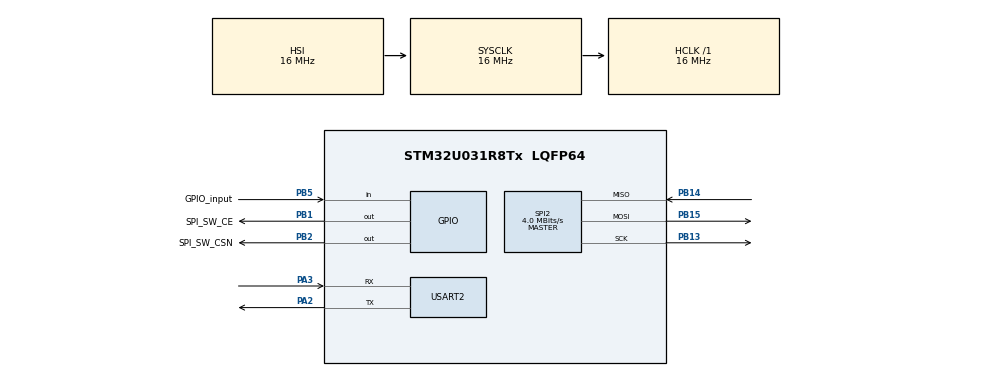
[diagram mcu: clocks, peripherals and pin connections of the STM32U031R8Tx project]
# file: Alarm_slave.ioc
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Mcu.Family=STM32U0
Mcu.Name=STM32U031R8Tx
Mcu.Package=LQFP64
NVIC.PriorityGroup=NVIC_PRIORITYGROUP_2
PA2.Mode=Asynchronous
PA2.Signal=USART2_TX
PA3.Mode=Asynchronous
PA3.Signal=USART2_RX
PB1.GPIO_Label=SPI_SW_CE
PB1.Signal=GPIO_Output
PB13.Mode=Full_Duplex_Master
PB13.Signal=SPI2_SCK
PB14.Mode=Full_Duplex_Master
PB14.Signal=SPI2_MISO
PB15.Mode=Full_Duplex_Master
PB15.Signal=SPI2_MOSI
PB2.GPIO_Label=SPI_SW_CSN
PB2.PinState=GPIO_PIN_SET
PB2.Signal=GPIO_Output
PB5.GPIO_Label=GPIO_input
PB5.Signal=GPIO_Input
ProjectManager.HeapSize=0x200
ProjectManager.StackSize=0x400
ProjectManager.TargetToolchain=STM32CubeIDE
RCC.AHBFreq_Value=16000000
RCC.CortexFreq_Value=16000000
RCC.HCLKFreq_Value=16000000
RCC.HSE_VALUE=4000000
RCC.HSI48_VALUE=48000000
RCC.HSI_VALUE=16000000
RCC.LSE_VALUE=32768
RCC.MSI_VALUE=4000000
RCC.SYSCLKFreq_VALUE=16000000
RCC.VCOOutputFreq_Value=64000000
SPI2.BaudRatePrescaler=SPI_BAUDRATEPRESCALER_4
SPI2.CalculateBaudRate=4.0 MBits/s
SPI2.DataSize=SPI_DATASIZE_8BIT
SPI2.Direction=SPI_DIRECTION_2LINES
SPI2.Mode=SPI_MODE_MASTER
SPI2.VirtualType=VM_MASTER
USART2.VirtualMode-Asynchronous=VM_ASYNC
VP_PWR_VS_SECSignals.Mode=Security/Privilege
board=custom

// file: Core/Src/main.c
/* USER CODE BEGIN Header */
/**
  ******************************************************************************
  * @file           : main.c
  * @brief          : Main program body
  ******************************************************************************
  * @attention
  *
  * Copyright (c) 2025 STMicroelectronics.
  * All rights reserved.
  *
  * This software is licensed under terms that can be found in the LICENSE file
  * in the root directory of this software component.
  * If no LICENSE file comes with this software, it is provided AS-IS.
  *
  ******************************************************************************
  */
/* USER CODE END Header */
#include "main.h"

/* USER CODE BEGIN Includes */
#include <string.h>
#include <stdio.h>
/* USER CODE END Includes */

SPI_HandleTypeDef hspi2;

UART_HandleTypeDef huart2;

void SystemClock_Config(void);
static void MX_GPIO_Init(void);
static void MX_SPI2_Init(void);
static void MX_USART2_UART_Init(void);

/* USER CODE BEGIN 0 */

#define NRF_REG_CONFIG      0x00
#define NRF_REG_EN_AA       0x01
#define NRF_REG_EN_RXADDR   0x02
#define NRF_REG_SETUP_AW    0x03
#define NRF_REG_SETUP_RETR  0x04
#define NRF_REG_RF_CH       0x05
#define NRF_REG_RF_SETUP    0x06
#define NRF_REG_STATUS      0x07
#define NRF_REG_RX_ADDR_P0  0x0A
#define NRF_REG_TX_ADDR     0x10
#define NRF_REG_RX_PW_P0    0x11 // Note: For dynamic payload, actual payload width is read via R_RX_PL_WID
#define NRF_REG_FIFO_STATUS 0x17
#define NRF_REG_DYNPD       0x1C
#define NRF_REG_FEATURE     0x1D

// --- NRF24L01+ Command Definitions ---
#define NRF_CMD_R_REGISTER    0x00 // Read command and status registers. AAAAA = 5 bit register map address
#define NRF_CMD_W_REGISTER    0x20 // Write command and status registers. AAAAA = 5 bit register map address. Executable in power down or standby modes only.
#define NRF_CMD_R_RX_PAYLOAD  0x61 // Read RX-payload: 1 – 32 bytes. A read operation always starts at byte 0. Payload is deleted from FIFO after it is read. Used in RX mode.
#define NRF_CMD_W_TX_PAYLOAD  0xA0 // Write TX-payload: 1 – 32 bytes. A write operation always starts at byte 0. Used in TX payload.
#define NRF_CMD_FLUSH_TX      0xE1 // Flush TX FIFO, used in TX mode
#define NRF_CMD_FLUSH_RX      0xE2 // Flush RX FIFO, used in RX mode. Should not be executed during transmission of ACK packet.
#define NRF_CMD_R_RX_PL_WID   0x60 // Read RX-payload width for the top R_RX_PAYLOAD in the RX FIFO.
#define NRF_CMD_NOP           0xFF // No Operation. Might be used to read the STATUS register

// --- STATUS Register Bits ---
#define NRF_STATUS_RX_DR    (1<<6) // Data Ready RX FIFO interrupt
#define NRF_STATUS_TX_DS    (1<<5) // Data Sent TX FIFO interrupt
#define NRF_STATUS_MAX_RT   (1<<4) // Maximum number of TX retransmits interrupt

// --- CONFIG Register Bits ---
#define NRF_CONFIG_MASK_RX_DR  (1<<6) // Mask interrupt caused by RX_DR
#define NRF_CONFIG_MASK_TX_DS  (1<<5) // Mask interrupt caused by TX_DS
#define NRF_CONFIG_MASK_MAX_RT (1<<4) // Mask interrupt caused by MAX_RT
#define NRF_CONFIG_EN_CRC      (1<<3) // Enable CRC. Forced high if one of the bits in EN_AA is high
#define NRF_CONFIG_CRCO        (1<<2) // CRC encoding scheme, '0':1 byte, '1':2 bytes
#define NRF_CONFIG_PWR_UP      (1<<1) // 1: POWER UP, 0:POWER DOWN
#define NRF_CONFIG_PRIM_RX     (1<<0) // RX/TX control, '1':PRX, '0':PTX

/*
 * @brief Writes data to an NRF24L01+ register.
 * @param reg_addr: The register address (5 LSBs are used).
 * @param data: Pointer to the data to write.
 * @param size: Number of bytes to write.
 * @retval HAL_StatusTypeDef from SPI transaction.
 */
HAL_StatusTypeDef nrf_write_register(uint8_t reg_addr, uint8_t* data, uint8_t size) {
    uint8_t tx_buf[size + 1];
    uint8_t rx_buf[size + 1]; // To capture status bytes clocked out
    HAL_StatusTypeDef status;

    tx_buf[0] = NRF_CMD_W_REGISTER | (reg_addr & 0x1F); // Command OR'd with register address
    memcpy(tx_buf + 1, data, size);

    HAL_GPIO_WritePin(SPI_SW_CSN_GPIO_Port, SPI_SW_CSN_Pin, GPIO_PIN_RESET);
    status = HAL_SPI_TransmitReceive(&hspi2, tx_buf, rx_buf, size + 1, HAL_MAX_DELAY);
    HAL_GPIO_WritePin(SPI_SW_CSN_GPIO_Port, SPI_SW_CSN_Pin, GPIO_PIN_SET);

    // rx_buf[0] contains the STATUS register value at the time of command byte transmission.
    // You can print or log rx_buf[0] for debugging if needed.
    // printf("NRF_Write: Reg 0x%02X, Status during write: 0x%02X\n", reg_addr, rx_buf[0]);

    if (status != HAL_OK) {
        printf("SPI Error in nrf_write_register: %d for reg 0x%02X\n", (int)status, reg_addr);
    }
    return status;
}

/*
 * @brief Reads multiple bytes from an NRF24L01+ register.
 * @param reg_addr: The register address (5 LSBs are used).
 * @param read_data: Pointer to a buffer to store the read data.
 * @param size: Number of bytes to read.
 * @retval HAL_StatusTypeDef from SPI transaction.
 */
HAL_StatusTypeDef nrf_read_register_multi(uint8_t reg_addr, uint8_t* read_data, uint8_t size) {
    uint8_t cmd = NRF_CMD_R_REGISTER | (reg_addr & 0x1F);
    uint8_t status_byte; // To store the status clocked out during command transmission
    HAL_StatusTypeDef status;

    HAL_GPIO_WritePin(SPI_SW_CSN_GPIO_Port, SPI_SW_CSN_Pin, GPIO_PIN_RESET);
    // Transmit the read command, receive status byte
    status = HAL_SPI_TransmitReceive(&hspi2, &cmd, &status_byte, 1, HAL_MAX_DELAY);
    if (status == HAL_OK) {
        // Receive the register data (clocks out NOPs on MOSI if HAL_SPI_Receive requires it,
        // or send dummy bytes if using HAL_SPI_TransmitReceive for reading)
        // Using HAL_SPI_Receive is cleaner here.
        status = HAL_SPI_Receive(&hspi2, read_data, size, HAL_MAX_DELAY);
    }
    HAL_GPIO_WritePin(SPI_SW_CSN_GPIO_Port, SPI_SW_CSN_Pin, GPIO_PIN_SET);

    // printf("NRF_Read_Multi: Reg 0x%02X, Status during read cmd: 0x%02X\n", reg_addr, status_byte);

    if (status != HAL_OK) {
        printf("SPI Error in nrf_read_register_multi: %d for reg 0x%02X\n", (int)status, reg_addr);
    }
    return status;
}

/*
 * @brief Reads a single byte from an NRF24L01+ register.
 * @param reg_addr: The register address.
 * @retval The byte read from the register. Returns 0xFF on SPI error for simplicity.
 */
uint8_t nrf_read_single_register(uint8_t reg_addr) {
    uint8_t data_byte;
    if (nrf_read_register_multi(reg_addr, &data_byte, 1) == HAL_OK) {
        return data_byte;
    }
    printf("Error reading single register 0x%02X\n", reg_addr);
    return 0xFF; // Indicate error
}

/*
 * @brief Reads the NRF24L01+ STATUS register using NOP command.
 * @retval The STATUS register value. Returns 0xFF on SPI error.
 */
uint8_t nrf_read_status_register(void) {
    uint8_t status_val;
    uint8_t nop_cmd = NRF_CMD_NOP;
    HAL_StatusTypeDef spi_status;
    HAL_GPIO_WritePin(SPI_SW_CSN_GPIO_Port, SPI_SW_CSN_Pin, GPIO_PIN_RESET);
    spi_status = HAL_SPI_TransmitReceive(&hspi2, &nop_cmd, &status_val, 1, HAL_MAX_DELAY);
    HAL_GPIO_WritePin(SPI_SW_CSN_GPIO_Port, SPI_SW_CSN_Pin, GPIO_PIN_SET);
    if (spi_status != HAL_OK) {
        printf("SPI Error reading STATUS register: %d\n", (int)spi_status);
        return 0xFF; // Error
    }
    return status_val;
}

/*
 * @brief Clears specified IRQ flags in the STATUS register.
 * @param flags_to_clear: Bitmask of flags (NRF_STATUS_RX_DR, NRF_STATUS_TX_DS, NRF_STATUS_MAX_RT).
 */
void nrf_clear_status_flags(uint8_t flags_to_clear) {
    // To clear a flag, write '1' to its bit position in the STATUS register
    nrf_write_register(NRF_REG_STATUS, &flags_to_clear, 1);
}

/*
 * @brief Reads the RX payload width from the NRF24L01+ using R_RX_PL_WID command.
 * @retval Payload width (1-32). Returns 0 if FIFO is empty or error, or width > 32.
 */
uint8_t nrf_read_rx_payload_width(void) {
    uint8_t cmd = NRF_CMD_R_RX_PL_WID;
    uint8_t width;
    uint8_t status_at_cmd_time; // Status byte returned when sending the command
    HAL_StatusTypeDef spi_status;

    HAL_GPIO_WritePin(SPI_SW_CSN_GPIO_Port, SPI_SW_CSN_Pin, GPIO_PIN_RESET);
    // Send command, get status
    spi_status = HAL_SPI_TransmitReceive(&hspi2, &cmd, &status_at_cmd_time, 1, HAL_MAX_DELAY);
    if (spi_status == HAL_OK) {
        // Get width (send NOP to clock it out, or just receive if SPI driver supports it)
        // Using a NOP to clock out the width byte is a common practice.
        uint8_t nop = NRF_CMD_NOP;
        spi_status = HAL_SPI_TransmitReceive(&hspi2, &nop, &width, 1, HAL_MAX_DELAY);
    }
    HAL_GPIO_WritePin(SPI_SW_CSN_GPIO_Port, SPI_SW_CSN_Pin, GPIO_PIN_SET);

    if (spi_status != HAL_OK) {
        printf("SPI Error in nrf_read_rx_payload_width: %d\n", (int)spi_status);
        return 0; // Error
    }

    // If width > 32, it indicates an error or empty FIFO.
    // The NRF24L01+ datasheet states: "A payload width value > 32 is an error and should be discarded."
    if (width > 32) {
        // This often means the RX FIFO is empty.
        // printf("NRF_Read_RX_PL_WID: Width > 32 (0x%02X), likely empty FIFO. Status was 0x%02X\n", width, status_at_cmd_time);
        return 0;
    }
    return width;
}

/*
 * @brief Reads the received payload from the RX FIFO.
 * @param payload_buffer: Buffer to store the payload.
 * @param width: The width of the payload to read (obtained from nrf_read_rx_payload_width).
 * @retval HAL_StatusTypeDef from SPI transaction.
 */
HAL_StatusTypeDef nrf_read_rx_payload(uint8_t* payload_buffer, uint8_t width) {
    uint8_t cmd = NRF_CMD_R_RX_PAYLOAD;
    uint8_t status_at_cmd_time; // Status byte returned when sending the command
    HAL_StatusTypeDef spi_status;

    if (width == 0 || width > 32) {
        printf("NRF_Read_RX_Payload: Invalid width %d\n", width);
        return HAL_ERROR;
    }

    HAL_GPIO_WritePin(SPI_SW_CSN_GPIO_Port, SPI_SW_CSN_Pin, GPIO_PIN_RESET);
    // Send command, get status
    spi_status = HAL_SPI_TransmitReceive(&hspi2, &cmd, &status_at_cmd_time, 1, HAL_MAX_DELAY);
    if (spi_status == HAL_OK) {
        // Get payload
        // Send dummy bytes if using HAL_SPI_TransmitReceive, or just receive.
        spi_status = HAL_SPI_Receive(&hspi2, payload_buffer, width, HAL_MAX_DELAY);
    }
    HAL_GPIO_WritePin(SPI_SW_CSN_GPIO_Port, SPI_SW_CSN_Pin, GPIO_PIN_SET);

    // printf("NRF_Read_RX_Payload: Status during R_RX_PAYLOAD cmd: 0x%02X\n", status_at_cmd_time);
    if (spi_status != HAL_OK) {
        printf("SPI Error in nrf_read_rx_payload: %d\n", (int)spi_status);
    }
    // After reading the payload, the RX_DR bit in STATUS is cleared if DYNPD is disabled and payload width matches RX_PW_Px.
    // If DYNPD is enabled, RX_DR must be cleared manually.
    return spi_status;
}

/*
 * @brief Flushes the TX FIFO.
 */
void nrf_flush_tx_fifo(void) {
    uint8_t cmd = NRF_CMD_FLUSH_TX;
    uint8_t status_byte;
    HAL_GPIO_WritePin(SPI_SW_CSN_GPIO_Port, SPI_SW_CSN_Pin, GPIO_PIN_RESET);
    HAL_SPI_TransmitReceive(&hspi2, &cmd, &status_byte, 1, HAL_MAX_DELAY);
    HAL_GPIO_WritePin(SPI_SW_CSN_GPIO_Port, SPI_SW_CSN_Pin, GPIO_PIN_SET);
    // printf("NRF_Flush_TX: Status during flush: 0x%02X\n", status_byte);
}

/*
 * @brief Flushes the RX FIFO.
 */
void nrf_flush_rx_fifo(void) {
    uint8_t cmd = NRF_CMD_FLUSH_RX;
    uint8_t status_byte;
    HAL_GPIO_WritePin(SPI_SW_CSN_GPIO_Port, SPI_SW_CSN_Pin, GPIO_PIN_RESET);
    HAL_SPI_TransmitReceive(&hspi2, &cmd, &status_byte, 1, HAL_MAX_DELAY);
    HAL_GPIO_WritePin(SPI_SW_CSN_GPIO_Port, SPI_SW_CSN_Pin, GPIO_PIN_SET);
    // printf("NRF_Flush_RX: Status during flush: 0x%02X\n", status_byte);
}

// --- Slave (Transmitter) Functions ---
void init_nrf_slave(void) {
    uint8_t data_val[5]; // Buffer for register values
    uint8_t addr[5] = {0xE7, 0xE7, 0xE7, 0xE7, 0xE7}; // Example address, ensure it's consistent

    HAL_GPIO_WritePin(SPI_SW_CE_GPIO_Port, SPI_SW_CE_Pin, GPIO_PIN_RESET); // Start with CE low
    HAL_Delay(1000); // Allow NRF to settle after power on (datasheet says 100ms from PWDN to Standby-I)

    printf("--- Initializing NRF Slave (PTX) ---\n");

    // Read initial status (optional, but good for debugging)
    uint8_t initial_nrf_status = nrf_read_status_register();
    printf("Slave: Initial NRF Status (before clear): 0x%02X\n", initial_nrf_status);

    // Force clear RX_DR, TX_DS, MAX_RT flags
    uint8_t flags_to_clear = NRF_STATUS_RX_DR | NRF_STATUS_TX_DS | NRF_STATUS_MAX_RT; // This is 0x70
    printf("Slave: Attempting to clear status flags (writing 0x%02X to STATUS reg).\n", flags_to_clear);
    nrf_write_register(NRF_REG_STATUS, &flags_to_clear, 1);
    HAL_Delay(1); // Small delay for the write to process

    // Read status again to confirm
    uint8_t status_after_clear = nrf_read_status_register();
    printf("Slave: NRF Status after clearing flags: 0x%02X\n", status_after_clear);

    // Also good to flush FIFOs early
    nrf_flush_tx_fifo();
    nrf_flush_rx_fifo();
    HAL_Delay(1);

    // Now attempt to write the CONFIG register
    //data_val[0] = NRF_CONFIG_PWR_UP; // Target: 0x02 (or NRF_CONFIG_PWR_UP | NRF_CONFIG_EN_CRC = 0x0A)

    data_val[0] = NRF_CONFIG_PWR_UP | NRF_CONFIG_EN_CRC | NRF_CONFIG_CRCO | NRF_CONFIG_MASK_RX_DR;
    printf("Slave: Intended CONFIG data_val[0] = 0x%02X\n", data_val[0]);

    // Add your detailed SPI write debug here for the CONFIG write if you haven't already:
    // printf("Slave SPI Write to CONFIG: TargetReg=0x00, CmdByteSent=0xXX, DataByteSent=0x%02X\n", data_val[0]);
    // HAL_StatusTypeDef spi_op_status = nrf_write_register(NRF_REG_CONFIG, data_val, 1);
    // printf("  Slave SPI Write to CONFIG: HAL_SPI_Status=%d, NRF_Status_during_Cmd=0xXX\n", (int)spi_op_status, /* NRF status from rx_buf[0] */);

    nrf_write_register(NRF_REG_CONFIG, data_val, 1);
    HAL_Delay(5); // Allow time for PWR_UP (1.5ms) to take effect

    uint8_t actual_config = nrf_read_single_register(NRF_REG_CONFIG);
    printf("Slave: Actual CONFIG read back = 0x%02X\n", actual_config);

    // Enable Auto-Acknowledgement on Pipe 0 (for receiving ACKs from master)
    data_val[0] = 0x00; nrf_write_register(NRF_REG_EN_AA, data_val, 1);

    // Enable RX Pipe 0 (needed to receive ACKs)
    data_val[0] = 0x01; nrf_write_register(NRF_REG_EN_RXADDR, data_val, 1);

    // Address Width: 5 bytes
    data_val[0] = 0x03; nrf_write_register(NRF_REG_SETUP_AW, data_val, 1);

    // Auto Retransmit Delay: 500us, Auto Retransmit Count: 10 retries
    // Your original 0x0F (250us, 15 retries) is also fine.
    // 0x1A = (0001 << 4) | (1010) = 500us delay, 10 retries.
    data_val[0] = 0x1A; nrf_write_register(NRF_REG_SETUP_RETR, data_val, 1);

    // RF Channel: e.g., Channel 60 (2460 MHz)
    // Your original 0x3C (Channel 60) is good.
    data_val[0] = 0x01; nrf_write_register(NRF_REG_RF_CH, data_val, 1);

    // RF Setup: Data Rate 1Mbps, Output Power 0dBm
    // Your original 0x27 (250kbps, 0dBm). Ensure master matches.
    // For testing, 1Mbps (0x07) or 2Mbps (0x0F) can be more robust if range is short.
    // Let's stick to 1Mbps (0x07) for now for consistency with master example.
    data_val[0] = 0x07; nrf_write_register(NRF_REG_RF_SETUP, data_val, 1);

    // TX Address (slave transmits on this address)
    nrf_write_register(NRF_REG_TX_ADDR, addr, 5);

    // RX Address Pipe 0 (slave receives ACKs on this address, must match TX_ADDR for ACKs)
    nrf_write_register(NRF_REG_RX_ADDR_P0, addr, 5);

    // Enable Dynamic Payload Length for Pipe 0 (for ACKs if master sends ACK payloads, though usually not needed for basic ACK)
    // And globally enable DPL feature.
    // Your original 0x01 for DYNPD (Pipe0) and 0x04 for FEATURE (EN_DPL)
    data_val[0] = 0x01; nrf_write_register(NRF_REG_DYNPD, data_val, 1);
    data_val[0] = (1<<2); // FEATURE: EN_DPL bit (bit 2)
    // Your original 0x04 for FEATURE is (EN_DPL | EN_ACK_PAY). If you don't use ACK payloads, just EN_DPL is enough.
    // Let's use EN_DPL only: data_val[0] = (1<<2);
    // If you need ACK payloads: data_val[0] = (1<<2) | (1<<1);
    // For simplicity, let's assume no ACK payloads for now.
    nrf_write_register(NRF_REG_FEATURE, data_val, 1);

    // Clear any pending IRQ flags from startup
    nrf_clear_status_flags(NRF_STATUS_RX_DR | NRF_STATUS_TX_DS | NRF_STATUS_MAX_RT);
    nrf_flush_tx_fifo(); // Important
    nrf_flush_rx_fifo(); // Important

    HAL_Delay(5); // Allow settings to take effect

    // --- Verification Prints ---
    printf("Slave CONFIG: 0x%02X (Expected PTX: PWR_UP, CRC_EN, CRC_2B, MASK_RX_DR)\n", nrf_read_single_register(NRF_REG_CONFIG));
    printf("Slave RF_SETUP: 0x%02X (Expected 1Mbps, 0dBm: 0x07)\n", nrf_read_single_register(NRF_REG_RF_SETUP));
    printf("Slave RF_CH: 0x%02X (Expected 0x3C)\n", nrf_read_single_register(NRF_REG_RF_CH));
    uint8_t rxtx_addr_check[5];
    nrf_read_register_multi(NRF_REG_TX_ADDR, rxtx_addr_check, 5);
    printf("Slave TX_ADDR: %02X:%02X:%02X:%02X:%02X\n", rxtx_addr_check[0],rxtx_addr_check[1],rxtx_addr_check[2],rxtx_addr_check[3],rxtx_addr_check[4]);
    nrf_read_register_multi(NRF_REG_RX_ADDR_P0, rxtx_addr_check, 5);
    printf("Slave RX_ADDR_P0: %02X:%02X:%02X:%02X:%02X\n", rxtx_addr_check[0],rxtx_addr_check[1],rxtx_addr_check[2],rxtx_addr_check[3],rxtx_addr_check[4]);
    printf("Slave STATUS: 0x%02X\n", nrf_read_status_register());
    printf("Slave FIFO_STATUS: 0x%02X\n", nrf_read_single_register(NRF_REG_FIFO_STATUS));
    printf("--- NRF Slave Initialized ---\n");
}

void transmit_nrf_payload(uint8_t size, char* data) {
    if (size == 0 || size > 32) {
        printf("Transmit_NRF: Invalid payload size %d\n", size);
        return;
    }

    // Optional: Check if NRF is in PTX mode and powered up
    // uint8_t config_reg = nrf_read_single_register(NRF_REG_CONFIG);
    // if (!(config_reg & NRF_CONFIG_PWR_UP) || (config_reg & NRF_CONFIG_PRIM_RX)) {
    //    printf("Transmit_NRF: Not in PTX mode or not powered up! CONFIG: 0x%02X\n", config_reg);
    //    // Potentially re-initialize or set to PTX mode here
    //    return;
    // }

    // Ensure CE is low before writing payload
    HAL_GPIO_WritePin(SPI_SW_CE_GPIO_Port, SPI_SW_CE_Pin, GPIO_PIN_RESET);

    // Write payload to TX FIFO using W_TX_PAYLOAD command
    uint8_t tx_payload_cmd =  0xB0; // W_TX_PAYLOAD_NOACK;
    uint8_t status_byte_during_cmd;

    HAL_GPIO_WritePin(SPI_SW_CSN_GPIO_Port, SPI_SW_CSN_Pin, GPIO_PIN_RESET);
    HAL_SPI_TransmitReceive(&hspi2, &tx_payload_cmd, &status_byte_during_cmd, 1, HAL_MAX_DELAY);
    HAL_SPI_Transmit(&hspi2, (uint8_t*)data, size, HAL_MAX_DELAY); // Send payload data
    HAL_GPIO_WritePin(SPI_SW_CSN_GPIO_Port, SPI_SW_CSN_Pin, GPIO_PIN_SET);
    // printf("Transmit_NRF: Status during W_TX_PAYLOAD cmd: 0x%02X\n", status_byte_during_cmd);

    // Pulse CE to trigger transmission
    HAL_GPIO_WritePin(SPI_SW_CE_GPIO_Port, SPI_SW_CE_Pin, GPIO_PIN_SET);
    // Keep CE high for at least 10us for transmission to start.
    // HAL_Delay(1) is more than enough. For faster systems, a microsecond delay is better.
    // For STM32, DWT_Delay_us can be used if initialized.
    volatile uint32_t delay_count = 1000; // Simple busy loop for short delay, adjust as needed
    while(delay_count--); // This is a rough delay, use proper us delay if available
    // HAL_Delay(1); // Using HAL_Delay for simplicity, though it's ms resolution
    HAL_GPIO_WritePin(SPI_SW_CE_GPIO_Port, SPI_SW_CE_Pin, GPIO_PIN_RESET);

    // After pulsing CE, the NRF attempts transmission.
    // The IRQ pin will go low if TX_DS or MAX_RT occurs (if unmasked in CONFIG).
    // Or, you can poll the STATUS register.
    // It's good practice to wait for TX_DS or MAX_RT, or implement a timeout.
}

// --- Master (Receiver) Functions ---
void init_nrf_master(void) {
    uint8_t data_val[5];
    uint8_t addr[5] = {0xE7, 0xE7, 0xE7, 0xE7, 0xE7}; // Must match slave's TX_ADDR and RX_ADDR_P0 for ACKs

    HAL_GPIO_WritePin(SPI_SW_CE_GPIO_Port, SPI_SW_CE_Pin, GPIO_PIN_RESET); // Start with CE low
    HAL_Delay(110); // Allow NRF to settle

    printf("--- Initializing NRF Master (PRX) ---\n");

    // CONFIG: Power Up, 2-byte CRC, PRX mode. Unmask RX_DR IRQ, mask TX_DS and MAX_RT.
    data_val[0] = NRF_CONFIG_PWR_UP | NRF_CONFIG_EN_CRC | NRF_CONFIG_CRCO | NRF_CONFIG_PRIM_RX |
                  NRF_CONFIG_MASK_TX_DS | NRF_CONFIG_MASK_MAX_RT;
    // Your original 0x0F is (PWR_UP | EN_CRC | CRCO | PRIM_RX). This is correct for PRX.
    // The masking part is important for IRQ behavior.
    nrf_write_register(NRF_REG_CONFIG, data_val, 1);
    HAL_Delay(2); // Allow time for state change

    // Enable Auto-Acknowledgement on Pipe 0 (master will send ACKs automatically)
    data_val[0] = 0x00; nrf_write_register(NRF_REG_EN_AA, data_val, 1);

    // Enable RX Pipe 0
    data_val[0] = 0x01; nrf_write_register(NRF_REG_EN_RXADDR, data_val, 1);

    // Address Width: 5 bytes
    data_val[0] = 0x03; nrf_write_register(NRF_REG_SETUP_AW, data_val, 1);

    // RF Channel: (Must match slave)
    data_val[0] = 0x01; nrf_write_register(NRF_REG_RF_CH, data_val, 1);

    // RF Setup: Data Rate 1Mbps, Output Power 0dBm (Must match slave)
    data_val[0] = 0x07; nrf_write_register(NRF_REG_RF_SETUP, data_val, 1);

    // RX Address for Pipe 0 (master listens on this address)
    nrf_write_register(NRF_REG_RX_ADDR_P0, addr, 5);

    // If master also needs to transmit data (not just ACKs), set TX_ADDR.
    // For basic ACK, P0 address is used automatically by NRF.
    // nrf_write_register(NRF_REG_TX_ADDR, master_tx_addr_if_needed, 5);

    // Enable Dynamic Payload Length for Pipe 0 and globally enable DPL feature.
    data_val[0] = 0x01; nrf_write_register(NRF_REG_DYNPD, data_val, 1);
    data_val[0] = (1<<2); // FEATURE: EN_DPL bit
    nrf_write_register(NRF_REG_FEATURE, data_val, 1);

    // Static payload length for Pipe 0 (if not using DPL, or as a fallback if DPL read fails)
    // This is often set even if DPL is used, but DPL overrides it.
    // data_val[0] = 32; // Max payload size, or your expected fixed size
    // nrf_write_register(NRF_REG_RX_PW_P0, data_val, 1);

    // Clear any pending IRQ flags
    nrf_clear_status_flags(NRF_STATUS_RX_DR | NRF_STATUS_TX_DS | NRF_STATUS_MAX_RT);
    nrf_flush_tx_fifo();
    nrf_flush_rx_fifo();

    HAL_Delay(5); // Allow settings to take effect

    // --- Verification Prints ---
    printf("Master CONFIG: 0x%02X (Expected PRX: PWR_UP, CRC_EN, CRC_2B, PRIM_RX, MASK_TX_DS, MASK_MAX_RT)\n", nrf_read_single_register(NRF_REG_CONFIG));
    printf("Master RF_SETUP: 0x%02X (Expected 1Mbps, 0dBm: 0x07)\n", nrf_read_single_register(NRF_REG_RF_SETUP));
    printf("Master RF_CH: 0x%02X (Expected 0x3C)\n", nrf_read_single_register(NRF_REG_RF_CH));
    uint8_t rx_p0_addr_check[5];
    nrf_read_register_multi(NRF_REG_RX_ADDR_P0, rx_p0_addr_check, 5);
    printf("Master RX_ADDR_P0: %02X:%02X:%02X:%02X:%02X\n", rx_p0_addr_check[0],rx_p0_addr_check[1],rx_p0_addr_check[2],rx_p0_addr_check[3],rx_p0_addr_check[4]);
    printf("Master STATUS: 0x%02X\n", nrf_read_status_register());
    printf("Master FIFO_STATUS: 0x%02X\n", nrf_read_single_register(NRF_REG_FIFO_STATUS));
    printf("--- NRF Master Initialized ---\n");

    // IMPORTANT: After initialization, put master in RX mode by setting CE HIGH
    HAL_GPIO_WritePin(SPI_SW_CE_GPIO_Port, SPI_SW_CE_Pin, GPIO_PIN_SET);
    printf("Master CE is HIGH, listening for packets.\n");
}

/* USER CODE END 0 */

int main(void)
{

  /* MCU Configuration--------------------------------------------------------*/

  /* Reset of all peripherals, Initializes the Flash interface and the Systick. */
  HAL_Init();

  /* Configure the system clock */
  SystemClock_Config();

  /* Initialize all configured peripherals */
  MX_GPIO_Init();
  MX_SPI2_Init();
  MX_USART2_UART_Init();
  /* USER CODE BEGIN 2 */
  HAL_Delay(500); // Initial delay
  init_nrf_slave();
  uint32_t tx_count = 0;
  char message_buffer[32]; // Buffer for message

  /* USER CODE END 2 */

  /* Infinite loop */
  /* USER CODE BEGIN WHILE */
  while (1)
  {

	  HAL_Delay(1000); // Send a message every second

	  // Or use your HAL_GPIO_ReadPin(GPIOB, GPIO_input_Pin) == 1 condition
	  if(HAL_GPIO_ReadPin(GPIO_input_GPIO_Port, GPIO_input_Pin) == GPIO_PIN_SET) {

	  snprintf(message_buffer, sizeof(message_buffer), "Slave Msg %lu", tx_count++);
	  printf("Slave: Transmitting: \"%s\" (len %d)\n", message_buffer, strlen(message_buffer));
	  transmit_nrf_payload(strlen(message_buffer), message_buffer);

	  // Check status after attempting transmission - this requires waiting for IRQ or timeout
	  // For simplicity, we'll just print status. A robust implementation would poll IRQ or use an interrupt.
	  // The NRF will assert IRQ (if TX_DS or MAX_RT unmasked) or set status bits.
	  // Give some time for the transaction to complete (ACK or MAX_RT)
	  HAL_Delay(50); // This delay is arbitrary, real check should be event-driven or timed

	  uint8_t slave_status = nrf_read_status_register();
	  printf("Slave: STATUS after TX attempt: 0x%02X\n", slave_status);

	  if (slave_status & NRF_STATUS_TX_DS) {
		  printf("Slave: TX_DS set. Transmission successful, ACK likely received.\n");
		  nrf_clear_status_flags(NRF_STATUS_TX_DS); // Clear TX_DS
	  }
	  if (slave_status & NRF_STATUS_MAX_RT) {
		  printf("Slave: MAX_RT set. Max retries reached, ACK not received.\n");
		  nrf_clear_status_flags(NRF_STATUS_MAX_RT); // Clear MAX_RT
		  nrf_flush_tx_fifo(); // Flush TX FIFO as packet was not delivered
		  printf("Slave: TX FIFO flushed due to MAX_RT.\n");
	  }
	  // If neither TX_DS nor MAX_RT is set, the transmission might still be in progress,
	  // or an issue occurred before transmission started (e.g., TX FIFO full previously).
	  // Check FIFO_STATUS for TX_FULL if issues persist.
	  // printf("Slave FIFO_STATUS: 0x%02X\n", nrf_read_single_register(NRF_REG_FIFO_STATUS));

	 } // end if button press
    /* USER CODE END WHILE */

  }
}

void SystemClock_Config(void)
{
  RCC_OscInitTypeDef RCC_OscInitStruct = {0};
  RCC_ClkInitTypeDef RCC_ClkInitStruct = {0};

  /** Configure the main internal regulator output voltage
  */
  HAL_PWREx_ControlVoltageScaling(PWR_REGULATOR_VOLTAGE_SCALE2);

  /** Initializes the RCC Oscillators according to the specified parameters
  * in the RCC_OscInitTypeDef structure.
  */
  RCC_OscInitStruct.OscillatorType = RCC_OSCILLATORTYPE_HSI;
  RCC_OscInitStruct.HSIState = RCC_HSI_ON;
  RCC_OscInitStruct.HSICalibrationValue = RCC_HSICALIBRATION_DEFAULT;
  RCC_OscInitStruct.PLL.PLLState = RCC_PLL_NONE;
  if (HAL_RCC_OscConfig(&RCC_OscInitStruct) != HAL_OK)
  {
    Error_Handler();
  }

  /** Initializes the CPU, AHB and APB buses clocks
  */
  RCC_ClkInitStruct.ClockType = RCC_CLOCKTYPE_HCLK|RCC_CLOCKTYPE_SYSCLK
                              |RCC_CLOCKTYPE_PCLK1;
  RCC_ClkInitStruct.SYSCLKSource = RCC_SYSCLKSOURCE_HSI;
  RCC_ClkInitStruct.AHBCLKDivider = RCC_SYSCLK_DIV1;
  RCC_ClkInitStruct.APB1CLKDivider = RCC_HCLK_DIV1;

  if (HAL_RCC_ClockConfig(&RCC_ClkInitStruct, FLASH_LATENCY_1) != HAL_OK)
  {
    Error_Handler();
  }
}

static void MX_SPI2_Init(void)
{

  /* SPI2 parameter configuration*/
  hspi2.Instance = SPI2;
  hspi2.Init.Mode = SPI_MODE_MASTER;
  hspi2.Init.Direction = SPI_DIRECTION_2LINES;
  hspi2.Init.DataSize = SPI_DATASIZE_8BIT;
  hspi2.Init.CLKPolarity = SPI_POLARITY_LOW;
  hspi2.Init.CLKPhase = SPI_PHASE_1EDGE;
  hspi2.Init.NSS = SPI_NSS_SOFT;
  hspi2.Init.BaudRatePrescaler = SPI_BAUDRATEPRESCALER_4;
  hspi2.Init.FirstBit = SPI_FIRSTBIT_MSB;
  hspi2.Init.TIMode = SPI_TIMODE_DISABLE;
  hspi2.Init.CRCCalculation = SPI_CRCCALCULATION_DISABLE;
  hspi2.Init.CRCPolynomial = 7;
  hspi2.Init.CRCLength = SPI_CRC_LENGTH_DATASIZE;
  hspi2.Init.NSSPMode = SPI_NSS_PULSE_ENABLE;
  if (HAL_SPI_Init(&hspi2) != HAL_OK)
  {
    Error_Handler();
  }

}

static void MX_USART2_UART_Init(void)
{

  huart2.Instance = USART2;
  huart2.Init.BaudRate = 115200;
  huart2.Init.WordLength = UART_WORDLENGTH_8B;
  huart2.Init.StopBits = UART_STOPBITS_1;
  huart2.Init.Parity = UART_PARITY_NONE;
  huart2.Init.Mode = UART_MODE_TX_RX;
  huart2.Init.HwFlowCtl = UART_HWCONTROL_NONE;
  huart2.Init.OverSampling = UART_OVERSAMPLING_16;
  huart2.Init.OneBitSampling = UART_ONE_BIT_SAMPLE_DISABLE;
  huart2.Init.ClockPrescaler = UART_PRESCALER_DIV1;
  huart2.AdvancedInit.AdvFeatureInit = UART_ADVFEATURE_NO_INIT;
  if (HAL_UART_Init(&huart2) != HAL_OK)
  {
    Error_Handler();
  }
  if (HAL_UARTEx_SetTxFifoThreshold(&huart2, UART_TXFIFO_THRESHOLD_1_8) != HAL_OK)
  {
    Error_Handler();
  }
  if (HAL_UARTEx_SetRxFifoThreshold(&huart2, UART_RXFIFO_THRESHOLD_1_8) != HAL_OK)
  {
    Error_Handler();
  }
  if (HAL_UARTEx_DisableFifoMode(&huart2) != HAL_OK)
  {
    Error_Handler();
  }

}

static void MX_GPIO_Init(void)
{
  GPIO_InitTypeDef GPIO_InitStruct = {0};

  /* GPIO Ports Clock Enable */
  __HAL_RCC_GPIOA_CLK_ENABLE();
  __HAL_RCC_GPIOB_CLK_ENABLE();

  /*Configure GPIO pin Output Level */
  HAL_GPIO_WritePin(SPI_SW_CE_GPIO_Port, SPI_SW_CE_Pin, GPIO_PIN_RESET);

  /*Configure GPIO pin Output Level */
  HAL_GPIO_WritePin(SPI_SW_CSN_GPIO_Port, SPI_SW_CSN_Pin, GPIO_PIN_SET);

  /*Configure GPIO pins : SPI_SW_CE_Pin SPI_SW_CSN_Pin */
  GPIO_InitStruct.Pin = SPI_SW_CE_Pin|SPI_SW_CSN_Pin;
  GPIO_InitStruct.Mode = GPIO_MODE_OUTPUT_PP;
  GPIO_InitStruct.Pull = GPIO_NOPULL;
  GPIO_InitStruct.Speed = GPIO_SPEED_FREQ_LOW;
  HAL_GPIO_Init(GPIOB, &GPIO_InitStruct);

  /*Configure GPIO pin : GPIO_input_Pin */
  GPIO_InitStruct.Pin = GPIO_input_Pin;
  GPIO_InitStruct.Mode = GPIO_MODE_INPUT;
  GPIO_InitStruct.Pull = GPIO_NOPULL;
  HAL_GPIO_Init(GPIO_input_GPIO_Port, &GPIO_InitStruct);

}

/* USER CODE BEGIN 4 */
int _write(int file, char *ptr, int len)
{
  // We only care about stdout (1) and stderr (2)
  // For other file descriptors, you might want to return -1 or handle them differently.
  if (file == 1 || file == 2) {
    // Transmit the data through UART2
    // HAL_MAX_DELAY means the function will block until transmission is complete or timeout occurs.
    // You can adjust the timeout value as needed.
    // For non-blocking, you would need to manage the transmission buffer and use interrupts or DMA.
    if (HAL_UART_Transmit(&huart2, (uint8_t *)ptr, len, HAL_MAX_DELAY) == HAL_OK) {
      return len; // Return the number of characters written
    } else {
      return -1; // Or EIO, if you include errno.h and want to set errno
    }
  }
  // For other file descriptors, return an error or handle as appropriate.
  // For example, you could implement a basic file system or return -1.
  // return -1; // Or handle other file descriptors
  return len; // If you want to pretend other files "worked" without actual output
}
/* USER CODE END 4 */

void Error_Handler(void)
{
  __disable_irq();
  while (1)
  {
  }
}
